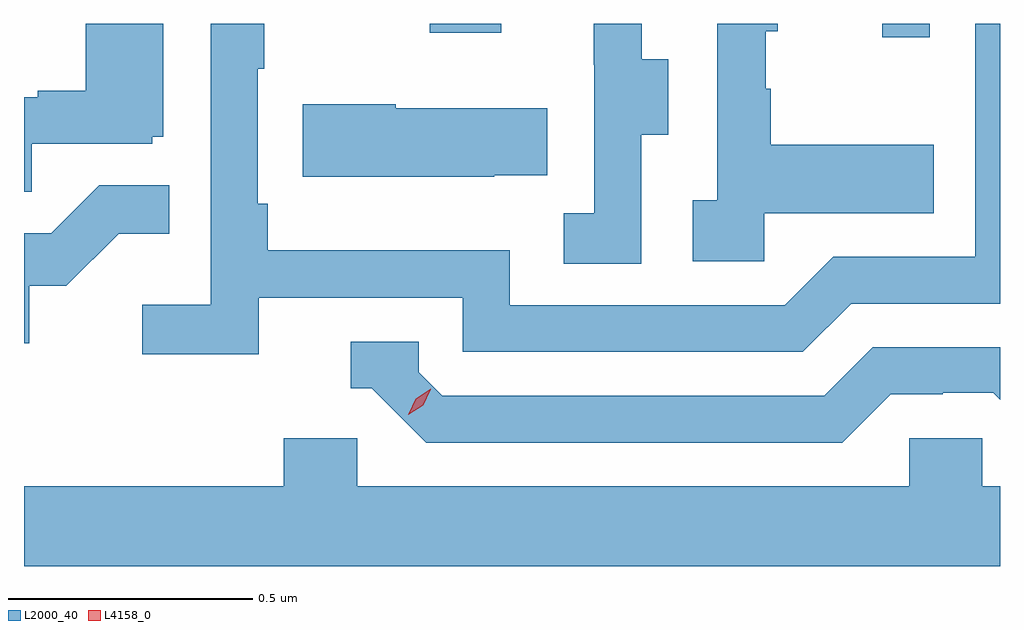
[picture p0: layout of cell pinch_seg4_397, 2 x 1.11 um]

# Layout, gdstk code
import gdstk
lib = gdstk.Library(unit=1e-6, precision=1e-09)
def R(c, l, rs):  # rectangles x0, y0, x1, y1
    for r in rs: c.add(gdstk.rectangle(r[:2], r[2:], *l))
def P(c, l, *ps):  # polygons
    for p in ps: c.add(gdstk.Polygon(p, *l))
L2000_40 = (2000, 40)
L4158_0 = (4158, 0)

pinch_seg4_397 = lib.new_cell('pinch_seg4_397')
R(pinch_seg4_397, L2000_40, [(996.368,784.584,996.465,784.611), (995.44,784.593,995.587,784.611)])
P(pinch_seg4_397, L2000_40, [(995.09,784.05),(995.508,784.05),(995.508,783.939),(996.205,783.939),(996.304,784.038),(996.609,784.038),(996.609,784.611),(996.558,784.611),(996.558,784.134),(996.267,784.134),(996.168,784.035),(995.604,784.035),(995.604,784.147),(995.108,784.147),(995.108,784.243),(995.088,784.243),(995.088,784.519),(995.101,784.519),(995.101,784.611),(994.992,784.611),(994.992,784.036),(994.851,784.036),(994.851,783.934),(995.09,783.934)],
  [(996.126,784.223),(996.473,784.223),(996.473,784.363),(996.139,784.363),(996.139,784.478),(996.129,784.478),(996.129,784.596),(996.154,784.596),(996.154,784.611),(996.03,784.611),(996.03,784.25),(995.979,784.25),(995.979,784.125),(996.126,784.125)],
  [(994.625,784.365),(994.872,784.365),(994.872,784.38),(994.894,784.38),(994.894,784.611),(994.736,784.611),(994.736,784.474),(994.637,784.474),(994.637,784.461),(994.609,784.461),(994.609,784.267),(994.625,784.267)],
  [(995.874,784.384),(995.929,784.384),(995.929,784.539),(995.875,784.539),(995.875,784.611),(995.777,784.611),(995.777,784.527),(995.778,784.527),(995.778,784.223),(995.715,784.223),(995.715,784.12),(995.874,784.12)],
  [(995.573,784.301),(995.681,784.301),(995.681,784.438),(995.371,784.438),(995.371,784.446),(995.18,784.446),(995.18,784.298),(995.573,784.298)],
  [(994.62,784.074),(994.696,784.074),(994.803,784.181),(994.907,784.181),(994.907,784.28),(994.763,784.28),(994.665,784.182),(994.609,784.182),(994.609,783.957),(994.62,783.957)],
  [(996.385,783.852),(996.492,783.852),(996.492,783.855),(996.595,783.855),(996.609,783.841),(996.609,783.948),(996.348,783.948),(996.249,783.849),(995.466,783.849),(995.418,783.897),(995.418,783.96),(995.279,783.96),(995.279,783.864),(995.322,783.864),(995.433,783.753),(996.286,783.753)],
  [(996.609,783.664),(996.573,783.664),(996.573,783.762),(996.423,783.762),(996.423,783.664),(995.292,783.664),(995.292,783.762),(995.141,783.762),(995.141,783.664),(994.609,783.664),(994.609,783.5),(996.609,783.5)])
P(pinch_seg4_397, L4158_0, [(995.396,783.81),(995.396,783.81),(995.412,783.843),(995.442,783.863),(995.442,783.863),(995.442,783.862),(995.427,783.83),(995.396,783.81)])

lib.write_gds('pinch_seg4_397.gds')
